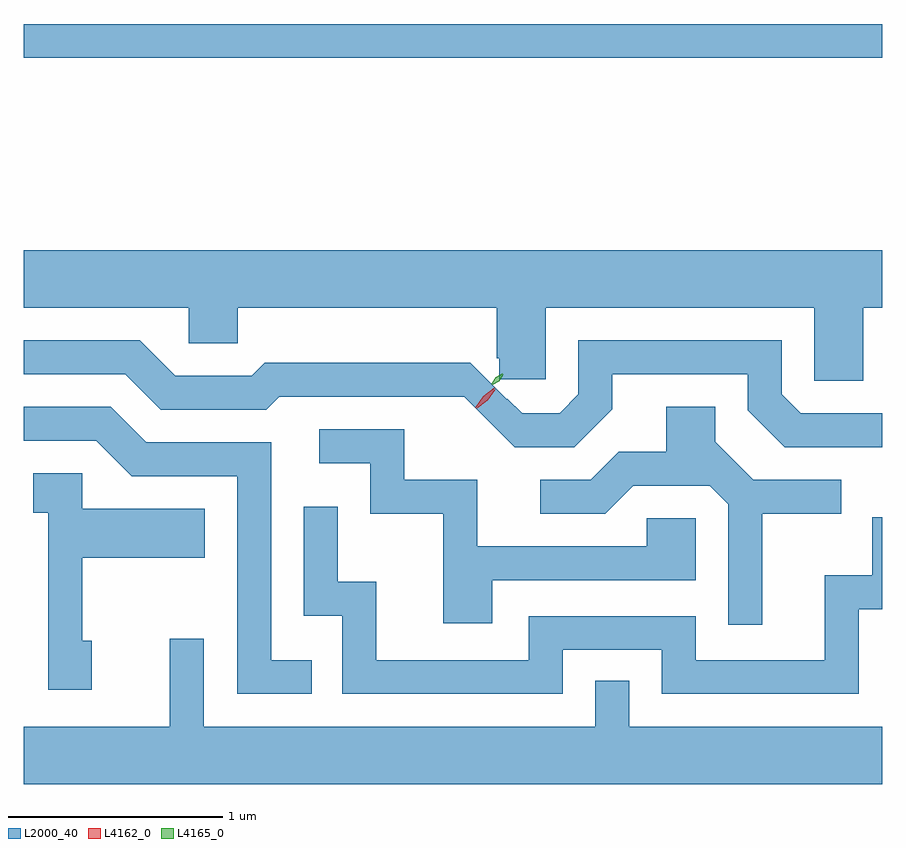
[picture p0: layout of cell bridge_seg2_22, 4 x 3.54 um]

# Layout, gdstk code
import gdstk
lib = gdstk.Library(unit=1e-6, precision=1e-09)
def R(c, l, rs):  # rectangles x0, y0, x1, y1
    for r in rs: c.add(gdstk.rectangle(r[:2], r[2:], *l))
def P(c, l, *ps):  # polygons
    for p in ps: c.add(gdstk.Polygon(p, *l))
L2000_40 = (2000, 40)
L4162_0 = (4162, 0)
L4165_0 = (4165, 0)

bridge_seg2_22 = lib.new_cell('bridge_seg2_22')
R(bridge_seg2_22, L2000_40, [(1662.157,1022.841,1666.157,1022.999)])
P(bridge_seg2_22, L2000_40, [(1666.069,1021.676),(1666.157,1021.676),(1666.157,1021.944),(1662.157,1021.944),(1662.157,1021.676),(1662.926,1021.676),(1662.926,1021.511),(1663.154,1021.511),(1663.154,1021.676),(1664.362,1021.676),(1664.362,1021.44),(1664.373,1021.44),(1664.373,1021.342),(1664.589,1021.342),(1664.589,1021.676),(1665.841,1021.676),(1665.841,1021.336),(1666.069,1021.336)],
  [(1664.899,1021.204),(1664.899,1021.366),(1665.531,1021.366),(1665.531,1021.199),(1665.704,1021.026),(1666.157,1021.026),(1666.157,1021.184),(1665.777,1021.184),(1665.689,1021.272),(1665.689,1021.524),(1664.741,1021.524),(1664.741,1021.272),(1664.654,1021.184),(1664.479,1021.184),(1664.411,1021.252),(1664.407,1021.249),(1664.237,1021.419),(1663.279,1021.419),(1663.219,1021.359),(1662.862,1021.359),(1662.697,1021.524),(1662.157,1021.524),(1662.157,1021.366),(1662.629,1021.366),(1662.794,1021.201),(1663.287,1021.201),(1663.347,1021.261),(1664.21,1021.261),(1664.445,1021.026),(1664.722,1021.026)],
  [(1663.498,1020.034),(1663.309,1020.034),(1663.309,1021.049),(1662.727,1021.049),(1662.562,1021.214),(1662.157,1021.214),(1662.157,1021.056),(1662.494,1021.056),(1662.659,1020.891),(1663.151,1020.891),(1663.151,1019.876),(1663.498,1019.876)],
  [(1665.599,1020.716),(1665.968,1020.716),(1665.968,1020.874),(1665.557,1020.874),(1665.379,1021.052),(1665.379,1021.214),(1665.151,1021.214),(1665.151,1021.004),(1664.929,1021.004),(1664.799,1020.874),(1664.563,1020.874),(1664.563,1020.716),(1664.867,1020.716),(1664.997,1020.846),(1665.354,1020.846),(1665.441,1020.759),(1665.441,1020.198),(1665.599,1020.198)],
  [(1664.339,1020.406),(1665.289,1020.406),(1665.289,1020.694),(1665.061,1020.694),(1665.061,1020.564),(1664.269,1020.564),(1664.269,1020.874),(1663.929,1020.874),(1663.929,1021.109),(1663.533,1021.109),(1663.533,1020.951),(1663.771,1020.951),(1663.771,1020.716),(1664.111,1020.716),(1664.111,1020.206),(1664.339,1020.206)],
  [(1662.474,1020.124),(1662.429,1020.124),(1662.429,1020.511),(1662.999,1020.511),(1662.999,1020.739),(1662.429,1020.739),(1662.429,1020.904),(1662.201,1020.904),(1662.201,1020.721),(1662.271,1020.721),(1662.271,1019.896),(1662.474,1019.896)],
  [(1664.669,1020.081),(1665.131,1020.081),(1665.131,1019.876),(1666.049,1019.876),(1666.049,1020.271),(1666.157,1020.271),(1666.157,1020.699),(1666.111,1020.699),(1666.111,1020.429),(1665.891,1020.429),(1665.891,1020.034),(1665.289,1020.034),(1665.289,1020.239),(1664.511,1020.239),(1664.511,1020.034),(1663.799,1020.034),(1663.799,1020.399),(1663.619,1020.399),(1663.619,1020.748),(1663.461,1020.748),(1663.461,1020.241),(1663.641,1020.241),(1663.641,1019.876),(1664.669,1019.876)],
  [(1666.157,1019.724),(1664.979,1019.724),(1664.979,1019.938),(1664.821,1019.938),(1664.821,1019.724),(1662.994,1019.724),(1662.994,1020.133),(1662.836,1020.133),(1662.836,1019.724),(1662.157,1019.724),(1662.157,1019.456),(1666.157,1019.456)])
P(bridge_seg2_22, L4162_0, [(1664.261,1021.21),(1664.261,1021.211),(1664.299,1021.264),(1664.35,1021.304),(1664.351,1021.304),(1664.351,1021.303),(1664.313,1021.25),(1664.262,1021.21)],
  [(1664.268,1021.208),(1664.268,1021.208),(1664.304,1021.259),(1664.354,1021.296),(1664.354,1021.296),(1664.354,1021.295),(1664.318,1021.245),(1664.269,1021.208)])
P(bridge_seg2_22, L4165_0, [(1664.336,1021.319),(1664.336,1021.32),(1664.356,1021.352),(1664.389,1021.372),(1664.39,1021.372),(1664.39,1021.371),(1664.37,1021.338),(1664.336,1021.319)],
  [(1664.341,1021.317),(1664.341,1021.317),(1664.359,1021.349),(1664.391,1021.366),(1664.392,1021.366),(1664.392,1021.365),(1664.373,1021.334),(1664.342,1021.317)])

lib.write_gds('bridge_seg2_22.gds')
